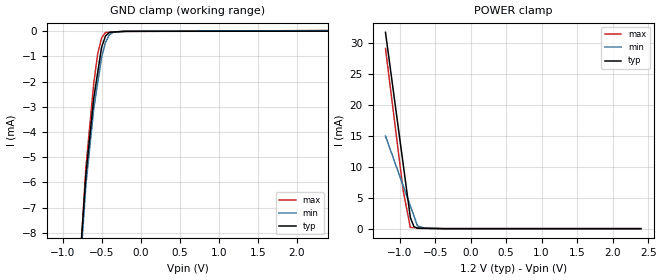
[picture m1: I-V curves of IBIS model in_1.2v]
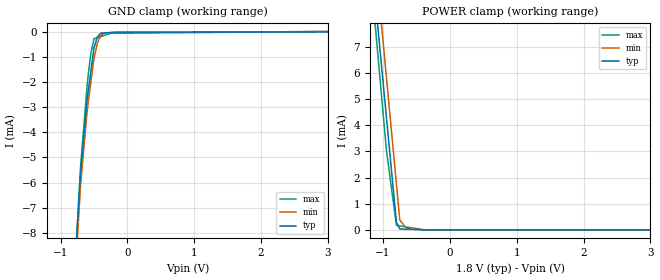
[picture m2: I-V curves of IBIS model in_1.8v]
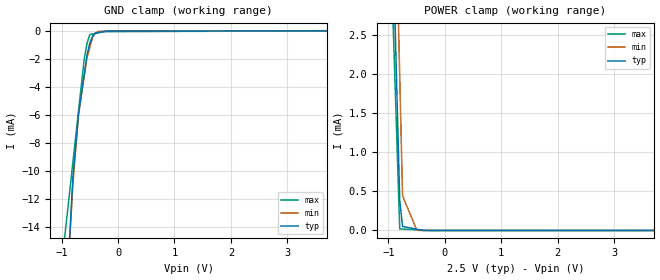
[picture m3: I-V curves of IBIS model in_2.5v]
| Teraspeed Modeling Services.
| http://www.teraspeed.com
[IBIS Ver]   3.2
[Comment Char] |_char
[File Name]   tlv320aic3104.ibs
[File Rev]   3.0
[Source]  Teraspeed Consulting Group LLC.
[Date]   12-14-2009
[Notes]   Quality Check of this IBIS model: Model Passes IBIS Check
   Model parses into ICX IS. Simulation done with Hyperlynx.
   1. MIN TYP MAX information is based on Temperature and Voltage
   characteristics only.
   2. Package information extracted using Tektronix IConnect Software.
| This model file was created by Teraspeed Consulting Group LLC
| (http://www.teraspeed.com/).
[Disclaimer]
| This product is designed as an aid for customers of Texas Instruments.
| No warranties, either expressed or implied, with respect to this third
| party software (if any) or with respect to its fitness for any
| particular purpose is claimed by Texas Instruments or the author. The
| software (if any) is provided solely on an "as is" basis. The entire
| risk as to its quality and performance is with the customer
[Copyright]
| (C) Copyright 2009 Texas Instruments Incorporated. All rights reserved.
| All other rights are reserved.
[Component] TLV320AIC3104
[Manufacturer] TI
[Package]
| variable   typ   min   max
R_pkg  1.000E-02  1.000E-02   1.000E-02
L_pkg  1.945E-09  1.450E-09   2.440E-09
C_pkg  5.000E-13  4.370E-13   5.630E-13
[Pin] signal_name  model_name  R_pin  L_pin C_pin
1   MCLK   input   1.000E-02  2.440E-09  5.630E-13
2   BCLK   clk_io   1.000E-02  2.110E-09  5.210E-13
3   WCLK   clk_io   1.000E-02  1.780E-09  4.790E-13
4   DIN   input   1.000E-02  1.450E-09  4.370E-13
5   DOUT   data_tri   1.000E-02  1.450E-09  4.370E-13
6   DVSS   GND   1.000E-02  1.780E-09  4.790E-13
7   IOVDD   POWER   1.000E-02  2.110E-09  5.210E-13
8   SCL   i2c_od_io  1.000E-02  2.440E-09  5.630E-13
9   SDA   i2c_od_io  1.000E-02  2.440E-09  5.630E-13
10  MIC1LP/LINE1LP   term   1.000E-02  2.110E-09  5.210E-13
11  MIC1LM/LINE1LM   term   1.000E-02  1.780E-09  4.790E-13
12  MIC1RP/LINE1RP   term   1.000E-02  1.450E-09  4.370E-13
13  MIC1RM/LINE1RM   term   1.000E-02  1.450E-09  4.370E-13
14  MIC2L/LINE2L/MICDET term   1.000E-02  1.780E-09  4.790E-13
15  MICBIAS   POWER   1.000E-02  2.110E-09  5.210E-13
16  MIC2R/LINE2R   term   1.000E-02  2.440E-09  5.630E-13
17  AVSS1   GND   1.000E-02  2.440E-09  5.630E-13
18  DRVDD   POWER   1.000E-02  2.110E-09  5.210E-13
19  HPLOUT   term   1.000E-02  1.780E-09  4.790E-13
20  HPLCOM   term   1.000E-02  1.450E-09  4.370E-13
21  DRVSS   GND   1.000E-02  1.450E-09  4.370E-13
22  HPRCOM   term   1.000E-02  1.780E-09  4.790E-13
23  HPROUT   term   1.000E-02  2.110E-09  5.210E-13
24  DRVDD   POWER   1.000E-02  2.440E-09  5.630E-13
25  AVDD   POWER   1.000E-02  2.440E-09  5.630E-13
26  AVSS2   GND   1.000E-02  2.110E-09  5.210E-13
27  LEFT_LOP   term   1.000E-02  1.780E-09  4.790E-13
28  LEFT_LOM   term   1.000E-02  1.450E-09  4.370E-13
29  RIGHT_LOP   term   1.000E-02  1.450E-09  4.370E-13
30  RIGHT_LOM   term   1.000E-02  1.780E-09  4.790E-13
31  *RESET   input   1.000E-02  2.110E-09  5.210E-13
32  DVDD   POWER   1.000E-02  2.440E-09  5.630E-13
[Model Selector] input
in_1.2v   1.2V cmos input
in_1.8v   1.8V cmos input
in_2.5v   2.5V cmos input
in_3.3v   3.3V cmos input
[Model Selector] clk_io
clk_1.2v   1.2V clk io
clk_1.8v   1.8V clk io
clk_2.5v   2.5V clk io
clk_3.3v   3.3V clk io
[Model Selector] data_tri
data_1.2v   1.2V data 3state out
data_1.8v   1.8V data 3state out
data_2.5v   2.5V data 3state out
data_3.3v   3.3V data 3state out
[Model Selector] i2c_od_io
i2c_1.2v   1.2V i2c open drain io
i2c_1.8v   1.8V i2c open drain io
i2c_2.5v   2.5V i2c open drain io
i2c_3.3v   3.3V i2c open drain io
[Model]  term
Model_type Terminator
C_comp   0   0   0
[Voltage Range]  3.3  3.0  3.6
[Temperature Range] 25   85   -40
| Models and submodels in the file (17): in_1.2v (Input), in_1.8v (Input), in_2.5v (Input), in_3.3v (Input), clk_1.2v (I/O), clk_1.8v (I/O), clk_2.5v (I/O), clk_3.3v (I/O), data_1.2v (3-state), data_1.8v (3-state), data_2.5v (3-state), data_3.3v (3-state), i2c_1.2v (I/O_open_drain), i2c_1.8v (I/O_open_drain), i2c_2.5v (I/O_open_drain), i2c_3.3v (I/O_open_drain), term (Terminator)
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[Model] in_1.2v
Model_type Input
Vinl = 360.000mV
Vinh = 1.10000V
C_comp 616.000fF 611.000fF 626.000fF
| variable typ   min   max
[Voltage Range] 1.20000V 1.10000V 1.30000V
[POWER Clamp Reference] 1.20000V 1.10000V 1.30000V
[GND Clamp Reference] 0.00000V 0.00000V 0.00000V
[Temperature Range] 25   85   -40
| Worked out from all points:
|   GND clamp passes 1 mA (typ) near -0.52 V on its own axis
|   POWER clamp passes 1 mA (typ) near -0.82 V on its own axis
[GND Clamp]
-1.2V     -28.43mA   -28.45mA   -30.25mA
-700mV    -5.673mA   -6.082mA   -5.394mA
-600mV    -2.658mA   -3.081mA   -2.069mA
-550mV    -1.649mA   -2.064mA   -902.4uA
-500mV    -640.4uA   -1.048mA   -266.7uA
-450mV    -192.9uA   -445.4uA   -49.51uA
-400mV    -40.44uA   -136.7uA   -39.72uA
-350mV    -30.88uA   -32.56uA   -29.92uA
-225mV    -6.979uA   -10.48uA   -5.42uA
-200mV    -2.199uA   -6.07uA    -5.097uA
-175mV    -2.136uA   -1.655uA   -4.773uA
2.4V      4.386uA    27.24uA    28.57uA
[POWER Clamp]
-1.2V     31.7mA     14.95mA    29.11mA
-1V       14.62mA    8.514mA    10.71mA
-950mV    10.35mA    6.906mA    6.115mA
-850mV    1.806mA    3.689mA    187uA
-800mV    336.4uA    2.081mA    167.3uA
-750mV    58.89uA    472.1uA    147.6uA
-650mV    43.18uA    64.2uA     108.3uA
-600mV    35.33uA    51.36uA    88.58uA
-475mV    15.7uA     22.83uA    39.37uA
-375mV    0A         0A         0A
-300mV    0A         0A         0A
2.4V      0A         0A         0A
[Model] in_1.8v
Model_type Input
Vinl = 540.000mV
Vinh = 1.62000V
C_comp 616.000fF 611.000fF 626.000fF
| variable typ   min   max
[Voltage Range] 1.80000V 1.70000V 1.90000V
[POWER Clamp Reference] 1.80000V 1.70000V 1.90000V
[GND Clamp Reference] 0.00000V 0.00000V 0.00000V
[Temperature Range] 25   85   -40
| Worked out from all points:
|   GND clamp passes 1 mA (typ) near -0.52 V on its own axis
|   POWER clamp passes 1 mA (typ) near -0.83 V on its own axis
[GND Clamp]
-1.8V     -53.86mA   -55.23mA   -59.31mA
-700mV    -5.55mA    -6.073mA   -5.341mA
-600mV    -2.602mA   -3.076mA   -2.04mA
-550mV    -1.613mA   -2.061mA   -885.6uA
-500mV    -623.8uA   -1.045mA   -258.2uA
-450mV    -186.9uA   -444.3uA   -215uA
-400mV    -39.38uA   -136.1uA   -171.9uA
-350mV    -30.04uA   -32.47uA   -128.8uA
-250mV    -11.36uA   -15.05uA   -42.49uA
-200mV    -2.022uA   -6.345uA   -41.32uA
-175mV    -1.929uA   -1.99uA    -40.73uA
3.6V      12.17uA    29.1uA     47.54uA
[POWER Clamp]
-1.8V     27.09mA    29.05mA    27.28mA
-950mV    4.315mA    5.843mA    3.048mA
-800mV    295uA      1.748mA    175.9uA
-750mV    37.29uA    383.3uA    155.2uA
-650mV    27.35uA    61.72uA    113.8uA
-600mV    22.37uA    49.38uA    93.15uA
-475mV    9.944uA    21.95uA    41.4uA
-375mV    0A         0A         0A
-300mV    0A         0A         0A
3.6V      0A         0A         0A
[Model] in_2.5v
Model_type Input
Vinl = 750.000mV
Vinh = 1.75000V
C_comp 616.000fF 611.000fF 626.000fF
| variable typ   min   max
[Voltage Range] 2.50000V 2.25000V 2.75000V
[POWER Clamp Reference] 2.50000V 2.25000V 2.75000V
[GND Clamp Reference] 0.00000V 0.00000V 0.00000V
[Temperature Range] 25   85   -40
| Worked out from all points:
|   GND clamp passes 1 mA (typ) near -0.51 V on its own axis
|   POWER clamp passes 1 mA (typ) near -0.82 V on its own axis
[GND Clamp]
-2.5V     -139.2mA   -134.3mA   -71.89mA
-800mV    -10.47mA   -10.96mA   -9.401mA
-700mV    -5.944mA   -5.97mA    -5.726mA
-600mV    -3.129mA   -3.264mA   -2.05mA
-550mV    -1.721mA   -1.911mA   -888.2uA
-500mV    -859.1uA   -1.178mA   -258.4uA
-450mV    -359.9uA   -444.6uA   -215.6uA
-400mV    -147.9uA   -137.1uA   -172.8uA
-350mV    -112.8uA   -32.87uA   -129.9uA
-200mV    -7.568uA   -6.586uA   -43.6uA
5V        19.14uA    30.99uA    22.74uA
[POWER Clamp]
-2.5V     46.86mA    53.77mA    44.94mA
-1.1V     8.587mA    11.11mA    6.983mA
-1.05V    7.22mA     9.588mA    5.627mA
-800mV    385.1uA    1.969mA    19.95uA
-750mV    51.35uA    445.8uA    18.05uA
-525mV    20.54uA    52.04uA    9.502uA
-500mV    17.12uA    8.294uA    8.551uA
-450mV    10.27uA    0A         6.651uA
-375mV    0A         0A         3.801uA
-225mV    0A         0A         0A
5V        0A         0A         0A
